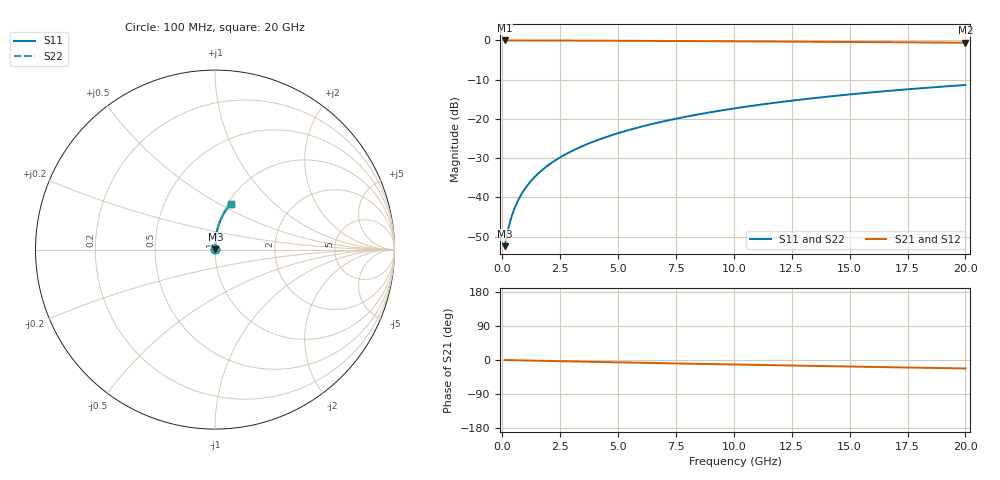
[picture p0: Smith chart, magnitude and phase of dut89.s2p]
! Touchstone file exported from HFSS 2024.1.0
!  File:  C:/UserFiles/LocalFiles/RDL_TSV_Batchsim/temp_RDL_bottom_89_1778694691.aedt
!  Generated:  01:54:08 AM May 14, 2026
!  Design:  RDL_bottom
!  Project:  temp_RDL_bottom_89_1778694691
!  Setup:  Setup1
!  Solution:  Sweep
! Variables:
!  dtsv = 10.80580581um
!  hbump = 3um
!  htsv = 52.15um
!  ldown = 253.25um
!  lrdl = 100um
!  p = 40
!  p1 = 53.97um
!  rhole = 1um
!  t = 450um
!  tdown = 2.83um
!  trdl = 3.915915916um
!  wdown = 18.32um
!  wrdl = 20um
# GHz S MA R 50.000000
! Terminal data exported
! Port[1] = RDL1_T1
! Port[2] = RDL1_T2
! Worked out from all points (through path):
!   200 points, 100 MHz to 20 GHz, reference 50 ohm
!   highest |S21| = -0.02 dB at 100 MHz (marker M1); lowest = -0.6 dB at 20 GHz (marker M2)
!   group delay of S21, straight-line fit = 3.09 ps
!   lowest |S11| = -52.4 dB at 100 MHz (marker M3), VSWR 1.00, Z = 50.2 + j0.136 ohm
!   |S11| at or under -10 dB: start of sweep to end of sweep
!   |S22| runs from -52.4 to -11.4 dB; largest |S21 - S12| = 3.4e-15
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0.1  0.002397 34.6  0.998 -0.1  0.998 -0.1  0.002397 34.6
! Gamma 0 0 0 0
! Port Impedance 50 0 50 0
0.2  0.003355 53.0  0.998 -0.3  0.998 -0.3  0.003353 52.9
0.3  0.004479 62.6  0.9979 -0.4  0.9979 -0.4  0.004477 62.6
0.4  0.005673 68.4  0.9978 -0.5  0.9978 -0.5  0.005671 68.4
0.5  0.006901 72.1  0.9977 -0.6  0.9977 -0.6  0.006901 72.1
0.6  0.008147 74.6  0.9976 -0.8  0.9976 -0.8  0.008148 74.7
0.8  0.01067 78.0  0.9975 -1.0  0.9975 -1.0  0.01067 78.0
1.1  0.01447 80.8  0.9972 -1.4  0.9972 -1.4  0.01447 80.8
1.5  0.01956 82.8  0.9968 -1.9  0.9968 -1.9  0.01956 82.8
1.8  0.0234 83.7  0.9964 -2.3  0.9964 -2.3  0.0234 83.7
2.1  0.02725 84.4  0.996 -2.7  0.996 -2.7  0.02726 84.4
2.7  0.03504 85.2  0.995 -3.4  0.995 -3.4  0.03504 85.2
3.5  0.04558 85.7  0.9934 -4.4  0.9934 -4.4  0.04558 85.7
4.2  0.05495 85.8  0.9918 -5.2  0.9918 -5.2  0.05495 85.8
5  0.06582 85.7  0.9896 -6.2  0.9896 -6.2  0.06582 85.7
5.9  0.07822 85.3  0.987 -7.3  0.987 -7.3  0.07822 85.3
6.8  0.09077 84.7  0.9842 -8.3  0.9842 -8.3  0.09077 84.7
8.4  0.1133 83.4  0.979 -10.1  0.979 -10.1  0.1133 83.4
10.1  0.1373 81.7  0.973 -12.0  0.973 -12.0  0.1373 81.7
13.4  0.1833 78.2  0.9608 -15.6  0.9608 -15.6  0.1833 78.2
16.7  0.2278 74.5  0.9478 -19.0  0.9478 -19.0  0.2278 74.5
20  0.2703 70.9  0.9339 -22.4  0.9339 -22.4  0.2703 70.9
